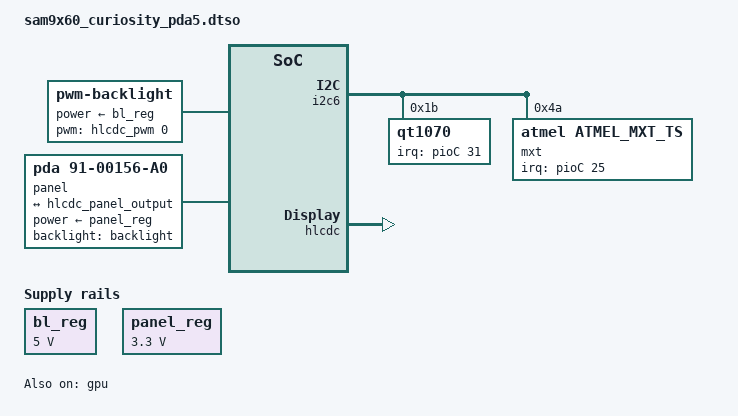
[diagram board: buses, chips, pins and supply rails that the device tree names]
// SPDX-License-Identifier: (GPL-2.0+ OR MIT)
/*
 * sam9x60_curiosity_pda5.dtso - Device Tree file for SAM9X60-CURIOSITY board
 * overlay blob for PDA5000 LCD.
 *
 * Copyright (C) 2022 Microchip Technology, Inc. and its subsidiaries
 * Author: Durai Manickam KR <durai.manickamkr@microchip.com>
 *
 */
/dts-v1/;
/plugin/;

#include "dt-bindings/pinctrl/at91.h"

&i2c6 {
	dmas = <0>, <0>;
	#address-cells = <1>;
	#size-cells = <0>;
	status = "okay";

	qt1070: keyboard@1b {
		compatible = "qt1070";
		reg = <0x1b>;
		interrupt-parent = <&pioC>;
		interrupts = <31 0x0>;
		pinctrl-names = "default";
		pinctrl-0 = <&pinctrl_qt1070_irq>;
	};

	mxt: atmel_mxt_ts@4a {
		compatible = "atmel,atmel_mxt_ts";
		reg = <0x4a>;
		interrupt-parent = <&pioC>;
		interrupts = <25 0x8>;
		pinctrl-names = "default";
		pinctrl-0 = <&pinctrl_mxt_irq>;
		wakeup-source;
	};
};

&hlcdc {
	status = "okay";

	hlcdc-display-controller {
		pinctrl-names = "default";
		pinctrl-0 = <&pinctrl_lcd_base &pinctrl_lcd_rgb666>;
		port@0 {
			#address-cells = <1>;
			#size-cells = <0>;
			hlcdc_panel_output: endpoint@0 {
				reg = <0>;
				remote-endpoint = <&panel_input>;
			};
		};
	};

	hlcdc_pwm: hlcdc-pwm {
		pinctrl-names = "default";
		pinctrl-0 = <&pinctrl_lcd_pwm>;
	};
};

&gpu {
	status = "okay";
};

&pinctrl {
	qt1070 {
		pinctrl_qt1070_irq: qt1070_irq {
			atmel,pins = <AT91_PIOC 31 AT91_PERIPH_GPIO AT91_PINCTRL_PULL_UP_DEGLITCH>;
		};
	};

	mxt {
		pinctrl_mxt_irq: mxt_irq {
			atmel,pins = <AT91_PIOC 25 AT91_PERIPH_GPIO AT91_PINCTRL_PULL_UP_DEGLITCH>;
		};
	};

	lcd {
		pinctrl_lcd_base: lcd-base-0 {
			atmel,pins = <AT91_PIOC 27 AT91_PERIPH_A AT91_PINCTRL_NONE	/* LCDVSYNC */
				      AT91_PIOC 28 AT91_PERIPH_A AT91_PINCTRL_NONE	/* LCDHSYNC */
				      AT91_PIOC 24 AT91_PERIPH_A AT91_PINCTRL_NONE	/* LCDDISP */
				      AT91_PIOC 29 AT91_PERIPH_A AT91_PINCTRL_NONE	/* LCDDEN */
				      AT91_PIOC 30 AT91_PERIPH_A AT91_PINCTRL_NONE>;	/* LCDPCK */
		};

		pinctrl_lcd_rgb666: lcd-rgb-3 {
			atmel,pins = <AT91_PIOC 2 AT91_PERIPH_A AT91_PINCTRL_NONE	/* LCDD2 pin */
				      AT91_PIOC 3 AT91_PERIPH_A AT91_PINCTRL_NONE	/* LCDD3 pin */
				      AT91_PIOC 4 AT91_PERIPH_A AT91_PINCTRL_NONE	/* LCDD4 pin */
				      AT91_PIOC 5 AT91_PERIPH_A AT91_PINCTRL_NONE	/* LCDD5 pin */
				      AT91_PIOC 6 AT91_PERIPH_A AT91_PINCTRL_NONE	/* LCDD6 pin */
				      AT91_PIOC 7 AT91_PERIPH_A AT91_PINCTRL_NONE	/* LCDD7 pin */
				      AT91_PIOC 10 AT91_PERIPH_A AT91_PINCTRL_NONE	/* LCDD10 pin */
				      AT91_PIOC 11 AT91_PERIPH_A AT91_PINCTRL_NONE	/* LCDD11 pin */
				      AT91_PIOC 12 AT91_PERIPH_A AT91_PINCTRL_NONE	/* LCDD12 pin */
				      AT91_PIOC 13 AT91_PERIPH_A AT91_PINCTRL_NONE	/* LCDD13 pin */
				      AT91_PIOC 14 AT91_PERIPH_A AT91_PINCTRL_NONE	/* LCDD14 pin */
				      AT91_PIOC 15 AT91_PERIPH_A AT91_PINCTRL_NONE	/* LCDD15 pin */
				      AT91_PIOC 18 AT91_PERIPH_A AT91_PINCTRL_NONE	/* LCDD18 pin */
				      AT91_PIOC 19 AT91_PERIPH_A AT91_PINCTRL_NONE	/* LCDD19 pin */
				      AT91_PIOC 20 AT91_PERIPH_A AT91_PINCTRL_NONE	/* LCDD20 pin */
				      AT91_PIOC 21 AT91_PERIPH_A AT91_PINCTRL_NONE	/* LCDD21 pin */
				      AT91_PIOC 22 AT91_PERIPH_A AT91_PINCTRL_NONE	/* LCDD22 pin */
				      AT91_PIOC 23 AT91_PERIPH_A AT91_PINCTRL_NONE>;	/* LCDD23 pin */
		};

		pinctrl_lcd_pwm: lcd_pwm {
			atmel,pins = <AT91_PIOC 26 AT91_PERIPH_A AT91_PINCTRL_NONE>;
		};
	};
};

&{/} {
	model = "Microchip SAM9X60-CURIOSITY TM5000";

	backlight: backlight {
		compatible = "pwm-backlight";
		pwms = <&hlcdc_pwm 0 50000 0>;
		brightness-levels = <0 4 8 16 32 64 128 255>;
		default-brightness-level = <7>;
		power-supply = <&bl_reg>;
		status = "okay";
	};

	bl_reg: backlight_regulator {
		compatible = "regulator-fixed";
		regulator-name = "backlight-power-supply";
		regulator-min-microvolt = <5000000>;
		regulator-max-microvolt = <5000000>;
		status = "okay";
	};

	panel: panel {
		compatible = "pda,91-00156-a0", "simple-panel";
		backlight = <&backlight>;
		power-supply = <&panel_reg>;
		#address-cells = <1>;
		#size-cells = <0>;
		status = "okay";

		port@0 {
			reg = <0>;
			#address-cells = <1>;
			#size-cells = <0>;

			panel_input: endpoint@0 {
				reg = <0>;
				remote-endpoint = <&hlcdc_panel_output>;
			};
		};
	};

	panel_reg: panel_regulator {
		compatible = "regulator-fixed";
		regulator-name = "panel-power-supply";
		regulator-min-microvolt = <3300000>;
		regulator-max-microvolt = <3300000>;
		status = "okay";
	};
};

&isi {
	status = "disabled";
};

